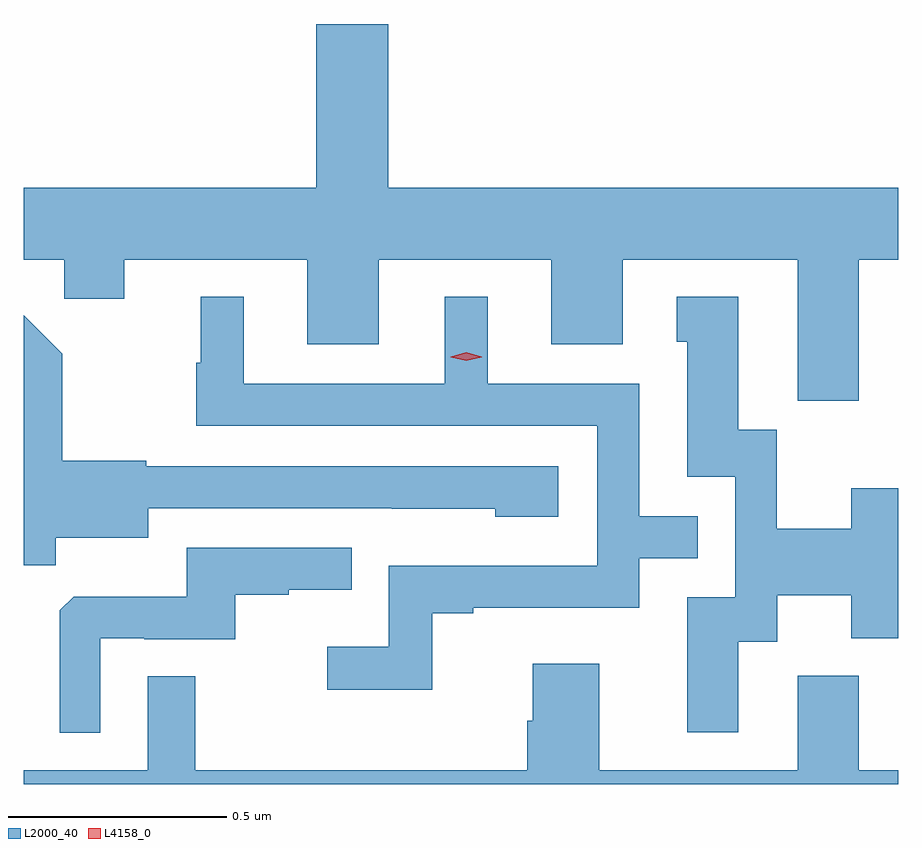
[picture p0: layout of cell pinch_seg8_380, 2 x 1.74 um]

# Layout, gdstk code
import gdstk
lib = gdstk.Library(unit=1e-6, precision=1e-09)
def P(c, l, *ps):  # polygons
    for p in ps: c.add(gdstk.Polygon(p, *l))
L2000_40 = (2000, 40)
L4158_0 = (4158, 0)

pinch_seg8_380 = lib.new_cell('pinch_seg8_380')
P(pinch_seg8_380, L2000_40, [(406.009,1121.828),(406.099,1121.828),(406.099,1121.992),(404.932,1121.992),(404.932,1122.367),(404.768,1122.367),(404.768,1121.992),(404.099,1121.992),(404.099,1121.828),(404.191,1121.828),(404.191,1121.738),(404.329,1121.738),(404.329,1121.828),(404.747,1121.828),(404.747,1121.634),(404.911,1121.634),(404.911,1121.828),(405.305,1121.828),(405.305,1121.634),(405.469,1121.634),(405.469,1121.828),(405.869,1121.828),(405.869,1121.617),(405.87,1121.617),(405.87,1121.505),(406.009,1121.505)],
  [(405.033,1121.019),(405.127,1121.019),(405.127,1121.031),(405.507,1121.031),(405.507,1121.145),(405.641,1121.145),(405.641,1121.241),(405.507,1121.241),(405.507,1121.544),(405.16,1121.544),(405.16,1121.743),(405.062,1121.743),(405.062,1121.544),(404.602,1121.544),(404.602,1121.743),(404.504,1121.743),(404.504,1121.592),(404.493,1121.592),(404.493,1121.448),(405.411,1121.448),(405.411,1121.127),(404.934,1121.127),(404.934,1120.942),(404.793,1120.942),(404.793,1120.844),(405.033,1120.844)],
  [(405.733,1120.954),(405.823,1120.954),(405.823,1121.06),(405.992,1121.06),(405.992,1120.961),(406.099,1120.961),(406.099,1121.305),(405.992,1121.305),(405.992,1121.212),(405.822,1121.212),(405.822,1121.439),(405.733,1121.439),(405.733,1121.743),(405.593,1121.743),(405.593,1121.64),(405.617,1121.64),(405.617,1121.331),(405.726,1121.331),(405.726,1121.055),(405.617,1121.055),(405.617,1120.746),(405.733,1120.746)],
  [(404.172,1121.192),(404.383,1121.192),(404.383,1121.259),(404.941,1121.259),(404.941,1121.258),(405.177,1121.258),(405.177,1121.24),(405.322,1121.24),(405.322,1121.355),(404.379,1121.355),(404.379,1121.368),(404.187,1121.368),(404.187,1121.613),(404.099,1121.701),(404.099,1121.128),(404.172,1121.128)],
  [(404.274,1120.962),(404.374,1120.962),(404.374,1120.959),(404.582,1120.959),(404.582,1121.061),(404.705,1121.061),(404.705,1121.072),(404.849,1121.072),(404.849,1121.169),(404.472,1121.169),(404.472,1121.057),(404.213,1121.057),(404.181,1121.025),(404.181,1120.745),(404.274,1120.745)],
  [(406.099,1120.66),(406.009,1120.66),(406.009,1120.876),(405.869,1120.876),(405.869,1120.66),(405.415,1120.66),(405.415,1120.903),(405.263,1120.903),(405.263,1120.773),(405.251,1120.773),(405.251,1120.66),(404.491,1120.66),(404.491,1120.874),(404.382,1120.874),(404.382,1120.66),(404.099,1120.66),(404.099,1120.628),(406.099,1120.628)])
P(pinch_seg8_380, L4158_0, [(405.111,1121.596),(405.075,1121.605),(405.075,1121.606),(405.075,1121.606),(405.111,1121.616),(405.147,1121.606),(405.147,1121.606),(405.147,1121.605)])

lib.write_gds('pinch_seg8_380.gds')
